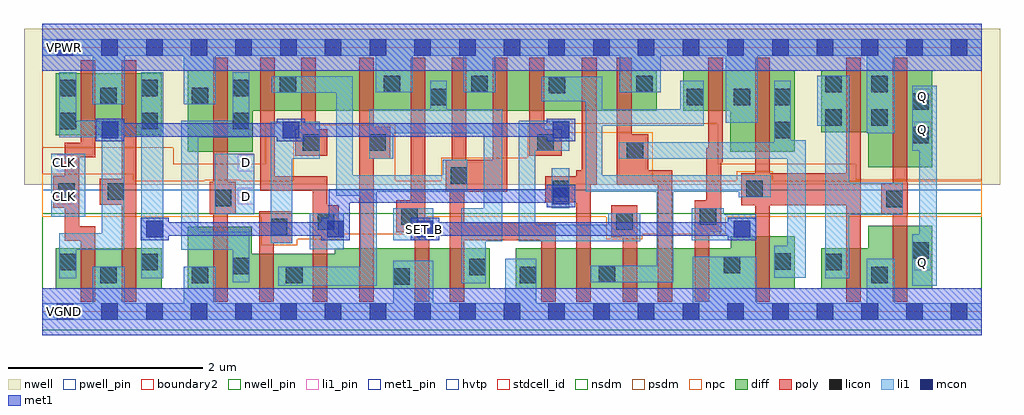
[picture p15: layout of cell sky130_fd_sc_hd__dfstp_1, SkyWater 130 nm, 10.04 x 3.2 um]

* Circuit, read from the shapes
.subckt sky130_fd_sc_hd__dfstp_1 CLK D Q SET_B VGND VNB VPB VPWR
XM1 VGND CLK n1 VNB sky130_fd_pr__nfet_01v8 w=0.42 l=0.15
XM2 n2 n1 VGND VNB sky130_fd_pr__nfet_01v8 w=0.42 l=0.15
XM3 n3 D VGND VNB sky130_fd_pr__nfet_01v8 w=0.64 l=0.15
XM4 n4 n1 n3 VNB sky130_fd_pr__nfet_01v8 w=0.36 l=0.15
XM5 n5 n2 n4 VNB sky130_fd_pr__nfet_01v8 w=0.36 l=0.15
XM6 VGND n6 n5 VNB sky130_fd_pr__nfet_01v8 w=0.42 l=0.15
XM7 n7 SET_B VGND VNB sky130_fd_pr__nfet_01v8 w=0.42 l=0.15
XM8 n6 n4 n7 VNB sky130_fd_pr__nfet_01v8 w=0.42 l=0.15
XM9 n8 n4 VGND VNB sky130_fd_pr__nfet_01v8 w=0.42 l=0.15
XM10 n9 n2 n8 VNB sky130_fd_pr__nfet_01v8 w=0.42 l=0.15
XM11 n10 n1 n9 VNB sky130_fd_pr__nfet_01v8 w=0.42 l=0.15
XM12 n11 n12 n10 VNB sky130_fd_pr__nfet_01v8 w=0.42 l=0.15
XM13 VGND SET_B n11 VNB sky130_fd_pr__nfet_01v8 w=0.42 l=0.15
XM14 n12 n9 VGND VNB sky130_fd_pr__nfet_01v8 w=0.54 l=0.15
XM15 VGND n9 n13 VNB sky130_fd_pr__nfet_01v8 w=0.42 l=0.15
XM16 Q n13 VGND VNB sky130_fd_pr__nfet_01v8 w=0.65 l=0.15
XM17 VPWR CLK n1 VPB sky130_fd_pr__pfet_01v8_hvt w=0.64 l=0.15
XM18 n2 n1 VPWR VPB sky130_fd_pr__pfet_01v8_hvt w=0.64 l=0.15
XM19 n3 D VPWR VPB sky130_fd_pr__pfet_01v8_hvt w=0.84 l=0.15
XM20 n4 n2 n3 VPB sky130_fd_pr__pfet_01v8_hvt w=0.42 l=0.15
XM21 n14 n1 n4 VPB sky130_fd_pr__pfet_01v8_hvt w=0.42 l=0.15
XM22 VPWR n6 n14 VPB sky130_fd_pr__pfet_01v8_hvt w=0.42 l=0.15
XM23 n6 SET_B VPWR VPB sky130_fd_pr__pfet_01v8_hvt w=0.42 l=0.15
XM24 VPWR n4 n6 VPB sky130_fd_pr__pfet_01v8_hvt w=0.42 l=0.15
XM25 n15 n4 VPWR VPB sky130_fd_pr__pfet_01v8_hvt w=0.42 l=0.15
XM26 n9 n1 n15 VPB sky130_fd_pr__pfet_01v8_hvt w=0.42 l=0.15
XM27 n16 n2 n9 VPB sky130_fd_pr__pfet_01v8_hvt w=0.42 l=0.15
XM28 VPWR n12 n16 VPB sky130_fd_pr__pfet_01v8_hvt w=0.42 l=0.15
XM29 VPWR SET_B n9 VPB sky130_fd_pr__pfet_01v8_hvt w=0.42 l=0.15
XM30 n12 n9 VPWR VPB sky130_fd_pr__pfet_01v8_hvt w=0.84 l=0.15
XM31 VPWR n9 n13 VPB sky130_fd_pr__pfet_01v8_hvt w=0.64 l=0.15
XM32 Q n13 VPWR VPB sky130_fd_pr__pfet_01v8_hvt w=1 l=0.15
.ends

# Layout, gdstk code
import gdstk
lib = gdstk.Library(unit=1e-6, precision=1e-09)
def R(c, l, rs):  # rectangles x0, y0, x1, y1
    for r in rs: c.add(gdstk.rectangle(r[:2], r[2:], *l))
def A(c, l, x, y, w, h, nx, ny, dx, dy):  # array of equal rectangles
    R(c, l, [(x+i*dx, y+j*dy, x+i*dx+w, y+j*dy+h) for i in range(nx) for j in range(ny)])
def P(c, l, *ps):  # polygons
    for p in ps: c.add(gdstk.Polygon(p, *l))
nwell_pin = (64, 16)
nwell = (64, 20)
diff = (65, 20)
poly = (66, 20)
licon = (66, 44)
li1_pin = (67, 16)
li1 = (67, 20)
mcon = (67, 44)
met1_pin = (68, 16)
met1 = (68, 20)
hvtp = (78, 44)
stdcell_id = (81, 4)
nsdm = (93, 44)
psdm = (94, 20)
npc = (95, 20)
pwell_pin = (122, 16)
boundary2 = (236, 0)

sky130_fd_sc_hd__dfstp_1 = lib.new_cell('sky130_fd_sc_hd__dfstp_1')
R(sky130_fd_sc_hd__dfstp_1, nwell_pin, [(0.145,2.635,0.315,2.805), (0.145,2.635,0.315,2.805)])
R(sky130_fd_sc_hd__dfstp_1, nwell, [(-0.19,1.305,9.85,2.91)])
R(sky130_fd_sc_hd__dfstp_1, diff, [(0.135,0.235,1.225,0.655), (0.135,1.815,1.225,2.455)])
P(sky130_fd_sc_hd__dfstp_1, diff, [(4.6,0.655),(3.005,0.655),(3.005,0.595),(2.155,0.595),(2.155,0.875),(1.495,0.875),(1.495,0.235),(4.6,0.235)],
  [(9.155,0.885),(8.495,0.885),(8.495,0.655),(8.01,0.655),(8.01,0.235),(9.155,0.235)],
  [(9.155,2.485),(8.01,2.485),(8.01,1.845),(8.495,1.845),(8.495,1.485),(9.155,1.485)],
  [(6.32,2.485),(1.495,2.485),(1.495,1.645),(2.165,1.645),(2.165,2.065),(6.32,2.065)],
  [(7.74,2.485),(6.59,2.485),(6.59,2.065),(7.075,2.065),(7.075,1.645),(7.74,1.645)],
  [(7.74,0.775),(7.08,0.775),(7.08,0.655),(4.87,0.655),(4.87,0.235),(7.74,0.235)])
P(sky130_fd_sc_hd__dfstp_1, poly, [(0.545,0.88),(0.38,0.88),(0.38,1.59),(0.545,1.59),(0.545,2.585),(0.395,2.585),(0.395,1.74),(0.23,1.74),(0.23,1.4),(0.11,1.4),(0.11,1.07),(0.23,1.07),(0.23,0.73),(0.395,0.73),(0.395,0.105),(0.545,0.105)],
  [(0.965,2.585),(0.815,2.585),(0.815,1.37),(0.59,1.37),(0.59,1.1),(0.815,1.1),(0.815,0.105),(0.965,0.105)],
  [(1.99,1.335),(1.905,1.335),(1.905,2.615),(1.755,2.615),(1.755,1.335),(1.72,1.335),(1.72,1.005),(1.755,1.005),(1.755,0.105),(1.905,0.105),(1.905,1.005),(1.99,1.005)],
  [(2.57,1.035),(2.23,1.035),(2.23,0.105),(2.38,0.105),(2.38,0.705),(2.57,0.705)],
  [(2.93,1.875),(2.81,1.875),(2.81,2.615),(2.66,2.615),(2.66,1.875),(2.6,1.875),(2.6,1.605),(2.93,1.605)],
  [(3.05,1.095),(2.93,1.095),(2.93,1.395),(2.39,1.395),(2.39,2.615),(2.24,2.615),(2.24,1.245),(2.78,1.245),(2.78,0.105),(2.93,0.105),(2.93,0.765),(3.05,0.765)],
  [(3.58,1.905),(3.41,1.905),(3.41,2.615),(3.26,2.615),(3.26,0.105),(3.41,0.105),(3.41,1.575),(3.58,1.575)],
  [(3.98,0.965),(3.94,0.965),(3.94,2.615),(3.79,2.615),(3.79,1.145),(3.64,1.145),(3.64,0.815),(3.83,0.815),(3.83,0.105),(3.98,0.105)],
  [(5.28,0.915),(4.34,0.915),(4.34,1.235),(4.78,1.235),(4.78,2.615),(4.63,2.615),(4.63,1.565),(4.36,1.565),(4.36,2.615),(4.21,2.615),(4.21,1.565),(4.15,1.565),(4.15,1.235),(4.19,1.235),(4.19,0.105),(4.34,0.105),(4.34,0.735),(5.13,0.735),(5.13,0.105),(5.28,0.105)],
  [(5.34,1.875),(5.16,1.875),(5.16,2.615),(5.01,2.615),(5.01,1.605),(5.34,1.605)],
  [(5.7,2.615),(5.55,2.615),(5.55,1.455),(5.49,1.455),(5.49,1.395),(5.17,1.395),(5.17,1.125),(5.49,1.125),(5.49,0.105),(5.64,0.105),(5.64,1.305),(5.7,1.305)],
  [(6.12,1.095),(5.85,1.095),(5.85,0.765),(5.97,0.765),(5.97,0.105),(6.12,0.105)],
  [(6.48,1.455),(6.23,1.455),(6.23,1.825),(6.06,1.825),(6.06,2.615),(5.91,2.615),(5.91,1.305),(6.33,1.305),(6.33,0.105),(6.48,0.105)],
  [(7,2.615),(6.85,2.615),(6.85,1.685),(6.83,1.685),(6.83,1.145),(6.71,1.145),(6.71,0.105),(6.86,0.105),(6.86,0.815),(6.98,0.815),(6.98,1.535),(7,1.535)],
  [(8.42,2.615),(8.27,2.615),(8.27,1.425),(7.48,1.425),(7.48,2.615),(7.33,2.615),(7.33,1.425),(7.19,1.425),(7.19,1.095),(7.33,1.095),(7.33,0.105),(7.48,0.105),(7.48,1.095),(8.27,1.095),(8.27,0.105),(8.42,0.105)],
  [(8.9,1.325),(8.895,1.325),(8.895,2.615),(8.745,2.615),(8.745,1.325),(8.63,1.325),(8.63,0.995),(8.745,0.995),(8.745,0.105),(8.895,0.105),(8.895,0.995),(8.9,0.995)])
R(sky130_fd_sc_hd__dfstp_1, licon, [(3.61,0.275,3.78,0.445), (0.595,0.295,0.765,0.465), (1.535,0.295,1.705,0.465), (2.505,0.295,2.675,0.465), (4.91,0.295,5.08,0.465), (8.525,0.295,8.695,0.465), (5.72,0.305,5.89,0.475), (4.39,0.375,4.56,0.545), (1.955,0.385,2.125,0.555), (7.01,0.395,7.18,0.565), (0.175,0.425,0.345,0.595), (1.015,0.425,1.185,0.595), (8.05,0.425,8.22,0.595), (7.53,0.43,7.7,0.6), (8.945,0.545,9.115,0.715), (2.35,0.785,2.52,0.955), (2.83,0.845,3,1.015), (5.9,0.845,6.07,1.015), (3.69,0.895,3.86,1.065), (6.76,0.895,6.93,1.065), (8.68,1.075,8.85,1.245), (1.77,1.085,1.94,1.255), (0.16,1.15,0.33,1.32), (0.67,1.15,0.84,1.32), (5.25,1.175,5.42,1.345), (7.24,1.175,7.41,1.345), (4.2,1.315,4.37,1.485), (6.01,1.575,6.18,1.745), (2.68,1.655,2.85,1.825), (3.36,1.655,3.53,1.825), (5.09,1.655,5.26,1.825), (8.945,1.735,9.115,1.905), (7.53,1.785,7.7,1.955), (0.175,1.875,0.345,2.045), (1.015,1.875,1.185,2.045), (1.955,1.875,2.125,2.045), (8.05,1.915,8.22,2.085), (8.525,1.915,8.695,2.085), (8.945,2.075,9.115,2.245), (3.99,2.125,4.16,2.295), (6.63,2.125,6.8,2.295), (7.11,2.125,7.28,2.295), (7.53,2.125,7.7,2.295), (0.595,2.135,0.765,2.305), (1.535,2.135,1.705,2.305), (0.175,2.215,0.345,2.385), (1.015,2.215,1.185,2.385), (1.955,2.215,2.125,2.385), (5.21,2.245,5.38,2.415), (2.44,2.25,2.61,2.42), (3.51,2.255,3.68,2.425), (4.41,2.255,4.58,2.425), (6.11,2.255,6.28,2.425), (8.05,2.255,8.22,2.425), (8.525,2.255,8.695,2.425)])
R(sky130_fd_sc_hd__dfstp_1, li1_pin, [(0.145,-0.085,0.315,0.085), (8.97,0.425,9.14,0.595), (3.85,0.765,4.02,0.935), (0.15,1.105,0.32,1.275), (2.01,1.105,2.18,1.275), (0.15,1.445,0.32,1.615), (2.01,1.445,2.18,1.615), (8.97,1.785,9.14,1.955), (8.97,2.125,9.14,2.295), (0.145,2.635,0.315,2.805)])
R(sky130_fd_sc_hd__dfstp_1, li1, [(0,-0.085,9.66,0.085), (0.515,0.07,0.845,0.465), (1.455,0.07,1.785,0.465), (3.61,0.07,4.02,0.525), (4.76,0.07,5.08,0.545), (6.69,0.07,7.35,0.565), (8.48,0.07,8.765,0.545), (1.015,0.345,1.24,2.465), (2.75,0.645,3.1,1.015), (3.61,0.735,4.02,1.065), (0.09,0.975,0.44,1.625), (1.77,1.005,2.18,1.625), (5.24,1.065,5.42,1.475), (8.48,1.835,8.765,2.635), (7.03,1.945,7.36,2.635), (0.515,2.135,0.845,2.635), (1.455,2.135,1.785,2.635), (3.43,2.255,3.81,2.635), (4.33,2.255,4.66,2.635), (5.94,2.255,6.36,2.635), (0,2.635,9.66,2.805)])
P(sky130_fd_sc_hd__dfstp_1, li1, [(0.84,1.965),(0.345,1.965),(0.345,2.465),(0.175,2.465),(0.175,1.795),(0.61,1.795),(0.61,0.805),(0.175,0.805),(0.175,0.345),(0.345,0.345),(0.345,0.635),(0.84,0.635)],
  [(2.125,0.825),(1.6,0.825),(1.6,1.795),(2.125,1.795),(2.125,2.465),(1.955,2.465),(1.955,1.965),(1.43,1.965),(1.43,0.635),(1.955,0.635),(1.955,0.305),(2.125,0.305)],
  [(2.85,1.955),(2.35,1.955),(2.35,0.705),(2.57,0.705),(2.57,1.575),(2.85,1.575)],
  [(4.37,1.565),(4.12,1.565),(4.12,1.405),(3.19,1.405),(3.19,2.42),(2.36,2.42),(2.36,2.25),(3.02,2.25),(3.02,1.195),(3.27,1.195),(3.27,0.465),(2.425,0.465),(2.425,0.265),(3.44,0.265),(3.44,1.235),(4.37,1.235)],
  [(4.73,2.085),(4.16,2.085),(4.16,2.375),(3.99,2.375),(3.99,2.085),(3.36,2.085),(3.36,1.575),(3.61,1.575),(3.61,1.835),(4.54,1.835),(4.54,1.065),(4.31,1.065),(4.31,0.295),(4.56,0.295),(4.56,0.725),(4.73,0.725)],
  [(6.15,1.015),(5.82,1.015),(5.82,0.895),(5.07,0.895),(5.07,1.655),(5.42,1.655),(5.42,1.965),(4.9,1.965),(4.9,0.725),(6.15,0.725)],
  [(7.34,1.005),(7.01,1.005),(7.01,1.065),(6.68,1.065),(6.68,0.735),(7.34,0.735)],
  [(7.49,1.405),(5.76,1.405),(5.76,1.915),(6.8,1.915),(6.8,2.375),(6.56,2.375),(6.56,2.085),(5.76,2.085),(5.76,2.415),(5.13,2.415),(5.13,2.165),(5.59,2.165),(5.59,1.235),(6.32,1.235),(6.32,0.475),(5.64,0.475),(5.64,0.305),(6.49,0.305),(6.49,1.235),(7.16,1.235),(7.16,1.175),(7.49,1.175)],
  [(7.85,1.765),(7.7,1.765),(7.7,2.375),(7.53,2.375),(7.53,1.745),(5.93,1.745),(5.93,1.575),(7.66,1.575),(7.66,0.68),(7.53,0.68),(7.53,0.35),(7.85,0.35)],
  [(8.85,1.325),(8.3,1.325),(8.3,2.425),(7.97,2.425),(7.97,1.915),(8.05,1.915),(8.05,0.345),(8.3,0.345),(8.3,0.995),(8.85,0.995)],
  [(9.2,2.325),(8.945,2.325),(8.945,1.655),(9.02,1.655),(9.02,0.795),(8.945,0.795),(8.945,0.265),(9.2,0.265)])
A(sky130_fd_sc_hd__dfstp_1, mcon, 0.145, -0.085, 0.17, 0.17, 21, 2, 0.46, 2.72)
R(sky130_fd_sc_hd__dfstp_1, mcon, [(1.07,0.765,1.24,0.935), (2.93,0.765,3.1,0.935), (3.85,0.765,4.02,0.935), (7.11,0.765,7.28,0.935), (5.25,1.105,5.42,1.275), (0.61,1.785,0.78,1.955), (2.47,1.785,2.64,1.955), (5.25,1.785,5.42,1.955)])
R(sky130_fd_sc_hd__dfstp_1, met1_pin, [(0.145,-0.085,0.315,0.085), (0.145,2.635,0.315,2.805)])
R(sky130_fd_sc_hd__dfstp_1, met1, [(0,-0.24,9.66,0.24), (0,2.48,9.66,2.96)])
P(sky130_fd_sc_hd__dfstp_1, met1, [(5.48,1.985),(5.19,1.985),(5.19,1.94),(2.7,1.94),(2.7,1.985),(2.41,1.985),(2.41,1.94),(0.84,1.94),(0.84,1.985),(0.55,1.985),(0.55,1.755),(0.84,1.755),(0.84,1.8),(2.41,1.8),(2.41,1.755),(2.7,1.755),(2.7,1.8),(5.19,1.8),(5.19,1.755),(5.48,1.755)],
  [(5.48,1.305),(5.19,1.305),(5.19,1.26),(2.945,1.26),(2.945,0.965),(2.87,0.965),(2.87,0.92),(1.3,0.92),(1.3,0.965),(1.01,0.965),(1.01,0.735),(1.3,0.735),(1.3,0.78),(2.87,0.78),(2.87,0.735),(3.16,0.735),(3.16,1.12),(5.19,1.12),(5.19,1.075),(5.48,1.075)],
  [(7.34,0.965),(7.05,0.965),(7.05,0.92),(4.08,0.92),(4.08,0.965),(3.79,0.965),(3.79,0.735),(4.08,0.735),(4.08,0.78),(7.05,0.78),(7.05,0.735),(7.34,0.735)])
R(sky130_fd_sc_hd__dfstp_1, hvtp, [(0,1.25,9.66,2.72)])
R(sky130_fd_sc_hd__dfstp_1, stdcell_id, [(0,0,9.66,2.72)])
R(sky130_fd_sc_hd__dfstp_1, nsdm, [(0,-0.19,9.66,1.015)])
P(sky130_fd_sc_hd__dfstp_1, psdm, [(9.66,2.91),(0,2.91),(0,1.685),(1.345,1.685),(1.345,1.515),(2.295,1.515),(2.295,1.935),(6.945,1.935),(6.945,1.515),(8.365,1.515),(8.365,1.355),(9.66,1.355)])
P(sky130_fd_sc_hd__dfstp_1, npc, [(9.66,1.345),(7.51,1.345),(7.51,1.445),(7.14,1.445),(7.14,1.345),(6.28,1.345),(6.28,1.845),(5.36,1.845),(5.36,1.925),(4.99,1.925),(4.99,1.585),(4.1,1.585),(4.1,1.345),(3.63,1.345),(3.63,1.925),(2.58,1.925),(2.58,1.345),(2.04,1.345),(2.04,1.355),(1.67,1.355),(1.67,1.345),(0.94,1.345),(0.94,1.42),(0,1.42),(0,0.975),(2.25,0.975),(2.25,0.685),(2.62,0.685),(2.62,0.745),(3.1,0.745),(3.1,0.795),(3.96,0.795),(3.96,0.975),(5.8,0.975),(5.8,0.745),(6.17,0.745),(6.17,0.795),(7.03,0.795),(7.03,0.975),(9.66,0.975)])
R(sky130_fd_sc_hd__dfstp_1, pwell_pin, [(0.145,-0.085,0.315,0.085), (0.145,-0.085,0.315,0.085)])
R(sky130_fd_sc_hd__dfstp_1, boundary2, [(0,0,9.66,2.72)])
sky130_fd_sc_hd__dfstp_1.add(gdstk.Label('D', (2.095,1.53), layer=67, texttype=5))
sky130_fd_sc_hd__dfstp_1.add(gdstk.Label('D', (2.095,1.19), layer=67, texttype=5))
sky130_fd_sc_hd__dfstp_1.add(gdstk.Label('VPWR', (0.23,2.72), layer=67, texttype=5))
sky130_fd_sc_hd__dfstp_1.add(gdstk.Label('Q', (9.055,2.21), layer=67, texttype=5))
sky130_fd_sc_hd__dfstp_1.add(gdstk.Label('Q', (9.055,1.87), layer=67, texttype=5))
sky130_fd_sc_hd__dfstp_1.add(gdstk.Label('Q', (9.055,0.51), layer=67, texttype=5))
sky130_fd_sc_hd__dfstp_1.add(gdstk.Label('SET_B', (3.935,0.85), layer=67, texttype=5))
sky130_fd_sc_hd__dfstp_1.add(gdstk.Label('CLK', (0.23,1.53), layer=67, texttype=5))
sky130_fd_sc_hd__dfstp_1.add(gdstk.Label('CLK', (0.23,1.19), layer=67, texttype=5))
sky130_fd_sc_hd__dfstp_1.add(gdstk.Label('VGND', (0.23,0), layer=67, texttype=5))
sky130_fd_sc_hd__dfstp_1.add(gdstk.Label('VPB', (0.23,2.72), layer=64, texttype=5))
sky130_fd_sc_hd__dfstp_1.add(gdstk.Label('VPB', (0.23,2.72), layer=64, texttype=5))
sky130_fd_sc_hd__dfstp_1.add(gdstk.Label('VNB', (0.23,0), layer=64, texttype=59))
sky130_fd_sc_hd__dfstp_1.add(gdstk.Label('VNB', (0.23,0), layer=64, texttype=59))
sky130_fd_sc_hd__dfstp_1.add(gdstk.Label('VPWR', (0.23,2.72), layer=68, texttype=5))
sky130_fd_sc_hd__dfstp_1.add(gdstk.Label('VGND', (0.23,0), layer=68, texttype=5))
sky130_fd_sc_hd__dfstp_1.add(gdstk.Label('dfstp_1', (0,0), layer=83, texttype=44))

lib.write_gds('sky130_fd_sc_hd__dfstp_1.gds')
